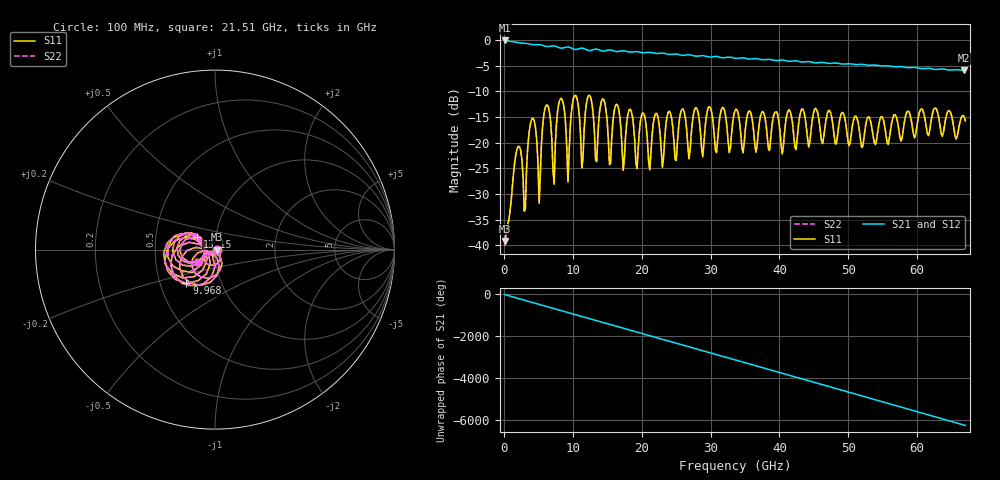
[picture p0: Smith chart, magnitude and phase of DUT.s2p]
! Touchstone file exported from HFSS 2021.2.0
!  File:  D:/20220920 new project/ISC_3rd_design/NewISC_3_with_imtiaz_dim_connector.aedt
!  Generated:  10:32:09 AM  Aug 03, 2023
!  Design:  DUT_51
!  Project:  NewISC_3_with_imtiaz_dim_connector
!  Setup:  Setup2
!  Solution:  Sweep
! Variables:
!  $_L_pin_on = 0.01nH
!  $_R_pin_on = 1ohm
!  Con_T = 0.012mm
!  Con_W = 0.11534mm
!  DUT = 30.8024mm
!  Gap = 0.71534mm
!  Gap_connector_vias = 1mm
!  Radius = 0.225mm
!  Space = 0.837mm
!  Sub_L = 9.5988mm
!  Sub_T = 0.05mm
!  Sub_W = 13.8408mm
!  Vias_N = 49
!  Vias_gap = 1mm
!  quater_wave_L = 1.2798mm
# GHz S RI R 50.000000
! Terminal data exported
! Port[1] = 1
! Port[2] = 2
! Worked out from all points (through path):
!   401 points, 100 MHz to 67 GHz, reference 50 ohm
!   highest |S21| = -0.10 dB at 100 MHz (marker M1); lowest = -5.9 dB at 66.83 GHz (marker M2)
!   group delay of S21, straight-line fit = 260 ps
!   lowest |S11| = -39.2 dB at 100 MHz (marker M3), VSWR 1.02, Z = 51.1 - j0.0596 ohm
!   |S11| at or under -10 dB: start of sweep to end of sweep
!   |S22| runs from -40.2 to -10.8 dB; largest |S21 - S12| = 7.7e-14
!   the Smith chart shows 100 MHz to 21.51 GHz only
!   S11 on the Smith chart (normalised r, x): 100 MHz: 1.02, -0.00; 9.968 GHz: 0.68, -0.27; 13.15 GHz: 0.81, +0.12; 21.51 GHz: 0.82, -0.12
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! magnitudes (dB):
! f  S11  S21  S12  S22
! 100 MHz  -39.2  -0.1  -0.1  -40.2
! 1.94 GHz  -21.1  -0.5  -0.5  -21.1
! 2.943 GHz  -33.3  -0.6  -0.6  -33.3
! 4.114 GHz  -15.3  -0.9  -0.9  -15.3
! 5.117 GHz  -31.8  -0.9  -0.9  -31.6
! 6.121 GHz  -12.7  -1.3  -1.3  -12.7
! 7.292 GHz  -28.1  -1.2  -1.2  -27.8
! 8.128 GHz  -11.6  -1.6  -1.6  -11.6
! 9.299 GHz  -27.7  -1.4  -1.4  -27.3
! 9.968 GHz  -12.2  -1.7  -1.7  -12.2
! 11.31 GHz  -24.9  -1.6  -1.6  -24.6
! 12.31 GHz  -10.8  -2.1  -2.1  -10.8
! 13.15 GHz  -18.1  -1.8  -1.8  -18.0
! 14.32 GHz  -11.5  -2.2  -2.2  -11.5
! 15.32 GHz  -24.3  -1.9  -1.9  -24.0
! 21.51 GHz  -18.6  -2.5  -2.5  -18.6
! 22.51 GHz  -16.2  -2.6  -2.6  -16.2
! 33.72 GHz  -13.5  -3.6  -3.6  -13.5
! 44.76 GHz  -15.7  -4.3  -4.3  -15.6
! 55.96 GHz  -19.2  -5.1  -5.1  -19.0
! 66.83 GHz  -15.0  -5.9  -5.9  -15.0
! 67 GHz  -15.8  -5.9  -5.9  -15.8
